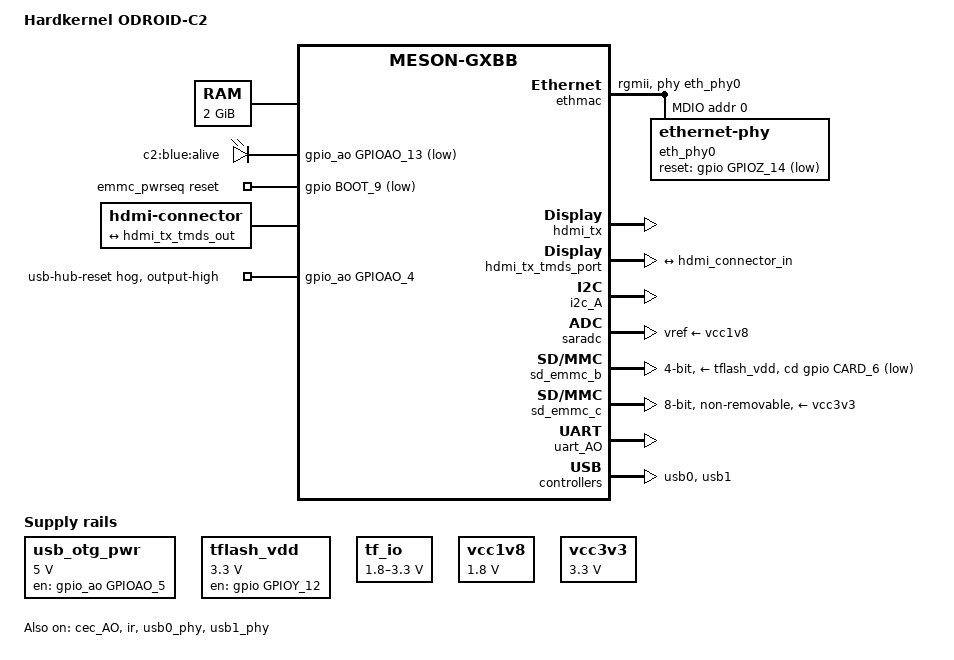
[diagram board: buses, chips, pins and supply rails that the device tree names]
// SPDX-License-Identifier: (GPL-2.0+ OR MIT)
/*
 * Copyright (c) 2016 Andreas Färber
 * Copyright (c) 2016 BayLibre, Inc.
 * Author: Kevin Hilman <khilman@kernel.org>
 */

/dts-v1/;

#include "meson-gxbb.dtsi"
#include <dt-bindings/gpio/gpio.h>

/ {
	compatible = "hardkernel,odroid-c2", "amlogic,meson-gxbb";
	model = "Hardkernel ODROID-C2";

	aliases {
		serial0 = &uart_AO;
		ethernet0 = &ethmac;
	};

	chosen {
		stdout-path = "serial0:115200n8";
	};

	memory@0 {
		device_type = "memory";
		reg = <0x0 0x0 0x0 0x80000000>;
	};

	usb_otg_pwr: regulator-usb-pwrs {
		compatible = "regulator-fixed";

		regulator-name = "USB_OTG_PWR";

		regulator-min-microvolt = <5000000>;
		regulator-max-microvolt = <5000000>;

		gpio = <&gpio_ao GPIOAO_5 GPIO_ACTIVE_HIGH>;
		enable-active-high;
	};

	leds {
		compatible = "gpio-leds";
		blue {
			label = "c2:blue:alive";
			gpios = <&gpio_ao GPIOAO_13 GPIO_ACTIVE_LOW>;
			linux,default-trigger = "heartbeat";
			default-state = "off";
		};
	};

	tflash_vdd: regulator-tflash_vdd {
		/*
		 * signal name from schematics: TFLASH_VDD_EN
		 */
		compatible = "regulator-fixed";

		regulator-name = "TFLASH_VDD";
		regulator-min-microvolt = <3300000>;
		regulator-max-microvolt = <3300000>;

		gpio = <&gpio GPIOY_12 GPIO_ACTIVE_HIGH>;
		enable-active-high;
	};

	tf_io: gpio-regulator-tf_io {
		compatible = "regulator-gpio";

		regulator-name = "TF_IO";
		regulator-min-microvolt = <1800000>;
		regulator-max-microvolt = <3300000>;

		/*
		 * signal name from schematics: TF_3V3N_1V8_EN
		 */
		gpios = <&gpio_ao GPIOAO_3 GPIO_ACTIVE_HIGH>;
		gpios-states = <0>;

		states = <3300000 0>,
			 <1800000 1>;
	};

	vcc1v8: regulator-vcc1v8 {
		compatible = "regulator-fixed";
		regulator-name = "VCC1V8";
		regulator-min-microvolt = <1800000>;
		regulator-max-microvolt = <1800000>;
	};

	vcc3v3: regulator-vcc3v3 {
		compatible = "regulator-fixed";
		regulator-name = "VCC3V3";
		regulator-min-microvolt = <3300000>;
		regulator-max-microvolt = <3300000>;
	};

	emmc_pwrseq: emmc-pwrseq {
		compatible = "mmc-pwrseq-emmc";
		reset-gpios = <&gpio BOOT_9 GPIO_ACTIVE_LOW>;
	};

	hdmi-connector {
		compatible = "hdmi-connector";
		type = "a";

		port {
			hdmi_connector_in: endpoint {
				remote-endpoint = <&hdmi_tx_tmds_out>;
			};
		};
	};
};

&cec_AO {
	status = "okay";
	pinctrl-0 = <&ao_cec_pins>;
	pinctrl-names = "default";
	hdmi-phandle = <&hdmi_tx>;
};

&ethmac {
	status = "okay";
	pinctrl-0 = <&eth_rgmii_pins>;
	pinctrl-names = "default";
	phy-handle = <&eth_phy0>;
	phy-mode = "rgmii";

	amlogic,tx-delay-ns = <2>;

	mdio {
		compatible = "snps,dwmac-mdio";
		#address-cells = <1>;
		#size-cells = <0>;

		eth_phy0: ethernet-phy@0 {
			/* Realtek RTL8211F (0x001cc916) */
			reg = <0>;

			reset-assert-us = <10000>;
			reset-deassert-us = <30000>;
			reset-gpios = <&gpio GPIOZ_14 GPIO_ACTIVE_LOW>;

			interrupt-parent = <&gpio_intc>;
			/* MAC_INTR on GPIOZ_15 */
			interrupts = <29 IRQ_TYPE_LEVEL_LOW>;
		};
	};
};

&gpio_ao {
	/*
	 * WARNING: The USB Hub on the Odroid-C2 needs a reset signal
	 * to be turned high in order to be detected by the USB Controller
	 * This signal should be handled by a USB specific power sequence
	 * in order to reset the Hub when USB bus is powered down.
	 */
	usb-hub {
		gpio-hog;
		gpios = <GPIOAO_4 GPIO_ACTIVE_HIGH>;
		output-high;
		line-name = "usb-hub-reset";
	};
};

&hdmi_tx {
	status = "okay";
	pinctrl-0 = <&hdmi_hpd_pins>, <&hdmi_i2c_pins>;
	pinctrl-names = "default";
};

&hdmi_tx_tmds_port {
	hdmi_tx_tmds_out: endpoint {
		remote-endpoint = <&hdmi_connector_in>;
	};
};

&i2c_A {
	status = "okay";
	pinctrl-0 = <&i2c_a_pins>;
	pinctrl-names = "default";
};

&ir {
	status = "okay";
	pinctrl-0 = <&remote_input_ao_pins>;
	pinctrl-names = "default";
};

&gpio_ao {
	gpio-line-names = "UART TX", "UART RX", "VCCK En", "TF 3V3/1V8 En",
			  "USB HUB nRESET", "USB OTG Power En",
			  "J7 Header Pin2", "IR In", "J7 Header Pin4",
			  "J7 Header Pin6", "J7 Header Pin5", "J7 Header Pin7",
			  "HDMI CEC", "SYS LED",
			  /* GPIO_TEST_N */
			  "";
};

&gpio {
	gpio-line-names = /* Bank GPIOZ */
			  "Eth MDIO", "Eth MDC", "Eth RGMII RX Clk",
			  "Eth RX DV", "Eth RX D0", "Eth RX D1", "Eth RX D2",
			  "Eth RX D3", "Eth RGMII TX Clk", "Eth TX En",
			  "Eth TX D0", "Eth TX D1", "Eth TX D2", "Eth TX D3",
			  "Eth PHY nRESET", "Eth PHY Intc",
			  /* Bank GPIOH */
			  "HDMI HPD", "HDMI DDC SDA", "HDMI DDC SCL", "",
			  /* Bank BOOT */
			  "eMMC D0", "eMMC D1", "eMMC D2", "eMMC D3", "eMMC D4",
			  "eMMC D5", "eMMC D6", "eMMC D7", "eMMC Clk",
			  "eMMC Reset", "eMMC CMD",
			  "", "", "", "", "", "", "",
			  /* Bank CARD */
			  "SDCard D1", "SDCard D0", "SDCard CLK", "SDCard CMD",
			  "SDCard D3", "SDCard D2", "SDCard Det",
			  /* Bank GPIODV */
			  "", "", "", "", "", "", "", "", "", "", "", "", "",
			  "", "", "", "", "", "", "", "", "", "", "",
			  "I2C A SDA", "I2C A SCK", "I2C B SDA", "I2C B SCK",
			  "PWM D", "PWM B",
			  /* Bank GPIOY */
			  "Revision Bit0", "Revision Bit1", "",
			  "J2 Header Pin35", "", "", "", "J2 Header Pin36",
			  "J2 Header Pin31", "", "", "", "TF VDD En",
			  "J2 Header Pin32", "J2 Header Pin26", "", "",
			  /* Bank GPIOX */
			  "J2 Header Pin29", "J2 Header Pin24",
			  "J2 Header Pin23", "J2 Header Pin22",
			  "J2 Header Pin21", "J2 Header Pin18",
			  "J2 Header Pin33", "J2 Header Pin19",
			  "J2 Header Pin16", "J2 Header Pin15",
			  "J2 Header Pin12", "J2 Header Pin13",
			  "J2 Header Pin8", "J2 Header Pin10",
			  "", "", "", "", "",
			  "J2 Header Pin11", "", "J2 Header Pin7", "",
			  /* Bank GPIOCLK */
			  "", "", "", "";
};

&saradc {
	status = "okay";
	vref-supply = <&vcc1v8>;
};

&scpi_clocks {
	status = "disabled";
};

/* SD */
&sd_emmc_b {
	status = "okay";
	pinctrl-0 = <&sdcard_pins>;
	pinctrl-1 = <&sdcard_clk_gate_pins>;
	pinctrl-names = "default", "clk-gate";

	bus-width = <4>;
	cap-sd-highspeed;
	sd-uhs-sdr12;
	sd-uhs-sdr25;
	sd-uhs-sdr50;
	sd-uhs-ddr50;
	max-frequency = <100000000>;
	disable-wp;

	cd-gpios = <&gpio CARD_6 GPIO_ACTIVE_LOW>;

	vmmc-supply = <&tflash_vdd>;
	vqmmc-supply = <&tf_io>;
};

/* eMMC */
&sd_emmc_c {
	status = "okay";
	pinctrl-0 = <&emmc_pins>, <&emmc_ds_pins>;
	pinctrl-1 = <&emmc_clk_gate_pins>;
	pinctrl-names = "default", "clk-gate";

	bus-width = <8>;
	max-frequency = <200000000>;
	non-removable;
	disable-wp;
	cap-mmc-highspeed;
	mmc-ddr-1_8v;
	mmc-hs200-1_8v;

	mmc-pwrseq = <&emmc_pwrseq>;
	vmmc-supply = <&vcc3v3>;
	vqmmc-supply = <&vcc1v8>;
};

&uart_AO {
	status = "okay";
	pinctrl-0 = <&uart_ao_a_pins>;
	pinctrl-names = "default";
};

&usb0_phy {
	status = "okay";
	phy-supply = <&usb_otg_pwr>;
};

&usb1_phy {
	status = "okay";
	phy-supply = <&usb_otg_pwr>;
};

&usb0 {
	status = "okay";
};

&usb1 {
	status = "okay";
};
